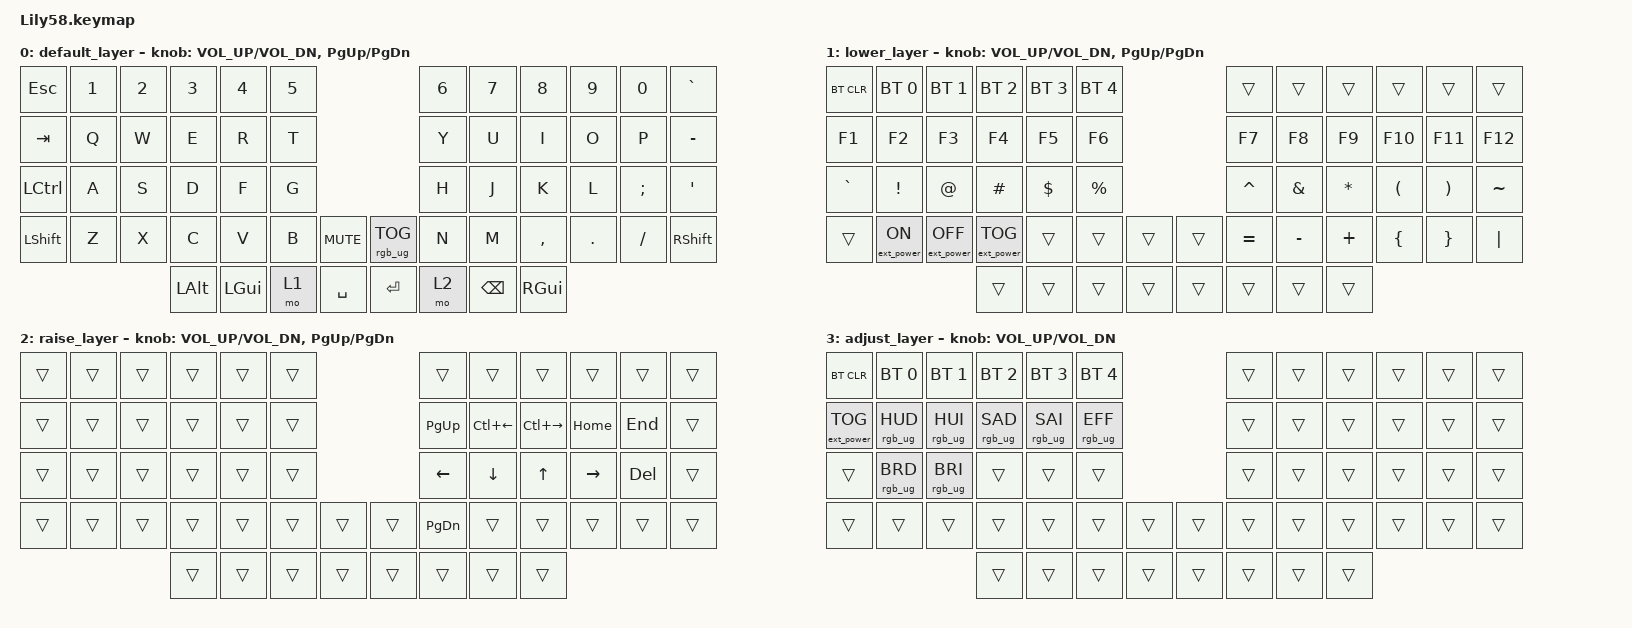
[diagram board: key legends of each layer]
/*
 * Copyright (c) 2020 The ZMK Contributors
 *
 * SPDX-License-Identifier: MIT
 */

#include <behaviors.dtsi>
#include <dt-bindings/zmk/bt.h>
#include <dt-bindings/zmk/ext_power.h>
#include <dt-bindings/zmk/keys.h>
#include <dt-bindings/zmk/rgb.h>

/ {
    // Activate ADJUST layer by pressing raise and lower

    conditional_layers {
        compatible = "zmk,conditional-layers";

        adjust_layer {
            if-layers = <1 2>;
            then-layer = <3>;
        };
    };

    keymap {
        compatible = "zmk,keymap";

        default_layer {
            bindings = <
&kp ESC    &kp N1  &kp N2  &kp N3    &kp N4    &kp N5                                 &kp N6  &kp N7    &kp N8     &kp N9   &kp N0    &kp GRAVE
&kp TAB    &kp Q   &kp W   &kp E     &kp R     &kp T                                  &kp Y   &kp U     &kp I      &kp O    &kp P     &kp MINUS
&kp LCTRL  &kp A   &kp S   &kp D     &kp F     &kp G                                  &kp H   &kp J     &kp K      &kp L    &kp SEMI  &kp SQT
&kp LSHFT  &kp Z   &kp X   &kp C     &kp V     &kp B   &kp C_MUTE    &rgb_ug RGB_TOG  &kp N   &kp M     &kp COMMA  &kp DOT  &kp FSLH  &kp RSHFT
                           &kp LALT  &kp LGUI  &mo 1   &kp SPACE     &kp RET          &mo 2   &kp BSPC  &kp RGUI
            >;

            sensor-bindings = <&inc_dec_kp C_VOL_UP C_VOL_DN &inc_dec_kp PG_UP PG_DN>;
        };

        lower_layer {
            bindings = <
&bt BT_CLR  &bt BT_SEL 0      &bt BT_SEL 1       &bt BT_SEL 2       &bt BT_SEL 3  &bt BT_SEL 4                    &trans     &trans     &trans     &trans    &trans    &trans
&kp F1      &kp F2            &kp F3             &kp F4             &kp F5        &kp F6                          &kp F7     &kp F8     &kp F9     &kp F10   &kp F11   &kp F12
&kp GRAVE   &kp EXCL          &kp AT             &kp HASH           &kp DOLLAR    &kp PRCNT                       &kp CARET  &kp AMPS   &kp ASTRK  &kp LPAR  &kp RPAR  &kp TILDE
&trans      &ext_power EP_ON  &ext_power EP_OFF  &ext_power EP_TOG  &trans        &trans        &trans    &trans  &kp EQUAL  &kp MINUS  &kp PLUS   &kp LBRC  &kp RBRC  &kp PIPE
                                                 &trans             &trans        &trans        &trans    &trans  &trans     &trans     &trans
            >;

            sensor-bindings = <&inc_dec_kp C_VOL_UP C_VOL_DN &inc_dec_kp PG_UP PG_DN>;
        };

        raise_layer {
            // Navigation layer (vim-style HJKL arrows)

            bindings = <
&trans  &trans  &trans  &trans  &trans  &trans                    &trans     &trans        &trans         &trans     &trans   &trans
&trans  &trans  &trans  &trans  &trans  &trans                    &kp PG_UP  &kp LC(LEFT)  &kp LC(RIGHT)  &kp HOME   &kp END  &trans
&trans  &trans  &trans  &trans  &trans  &trans                    &kp LEFT   &kp DOWN      &kp UP         &kp RIGHT  &kp DEL  &trans
&trans  &trans  &trans  &trans  &trans  &trans  &trans    &trans  &kp PG_DN  &trans        &trans         &trans     &trans   &trans
                        &trans  &trans  &trans  &trans    &trans  &trans     &trans        &trans
            >;

            sensor-bindings = <&inc_dec_kp C_VOL_UP C_VOL_DN &inc_dec_kp PG_UP PG_DN>;
        };

        adjust_layer {
            bindings = <
&bt BT_CLR         &bt BT_SEL 0     &bt BT_SEL 1     &bt BT_SEL 2     &bt BT_SEL 3     &bt BT_SEL 4                       &trans  &trans  &trans  &trans  &trans  &trans
&ext_power EP_TOG  &rgb_ug RGB_HUD  &rgb_ug RGB_HUI  &rgb_ug RGB_SAD  &rgb_ug RGB_SAI  &rgb_ug RGB_EFF                    &trans  &trans  &trans  &trans  &trans  &trans
&trans             &rgb_ug RGB_BRD  &rgb_ug RGB_BRI  &trans           &trans           &trans                             &trans  &trans  &trans  &trans  &trans  &trans
&trans             &trans           &trans           &trans           &trans           &trans           &trans    &trans  &trans  &trans  &trans  &trans  &trans  &trans
                                                     &trans           &trans           &trans           &trans    &trans  &trans  &trans  &trans
            >;

            sensor-bindings = <&inc_dec_kp C_VOL_UP C_VOL_DN>;
        };

        extra1 { status = "reserved"; };

        extra2 { status = "reserved"; };

        extra3 { status = "reserved"; };

        extra4 { status = "reserved"; };

        extra5 { status = "reserved"; };
    };
};
